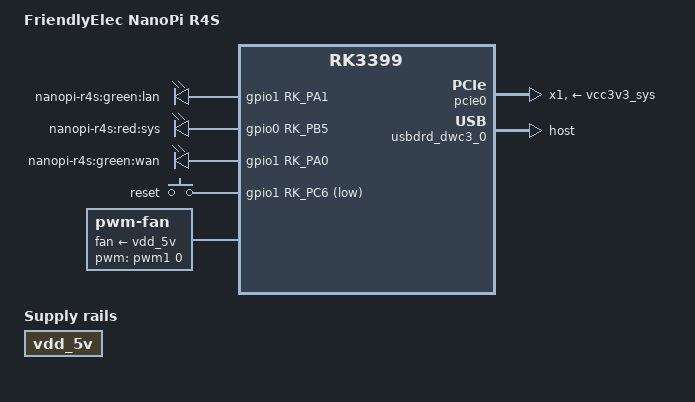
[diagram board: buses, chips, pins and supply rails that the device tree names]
// SPDX-License-Identifier: (GPL-2.0 OR MIT)
/*
 * Copyright (c) 2020 Jensen Huang <jensenhuang@friendlyarm.com>
 * Copyright (c) 2020 Marty Jones <mj8263788@gmail.com>
 * Copyright (c) 2020 Tianling Shen <cnsztl@gmail.com>
 */

/dts-v1/;
#include "rk3399-nanopi4.dtsi"

/ {
	model = "FriendlyElec NanoPi R4S";
	compatible = "friendlyarm,nanopi-r4s", "rockchip,rk3399";

	aliases {
		led-boot = &sys_led;
		led-failsafe = &sys_led;
		led-running = &sys_led;
		led-upgrade = &sys_led;
	};

	/delete-node/ gpio-leds;
	gpio-leds {
		compatible = "gpio-leds";
		pinctrl-0 = <&lan_led_pin>, <&sys_led_pin>, <&wan_led_pin>;
		pinctrl-names = "default";

		lan_led: led-0 {
			gpios = <&gpio1 RK_PA1 GPIO_ACTIVE_HIGH>;
			label = "nanopi-r4s:green:lan";
		};

		sys_led: led-1 {
			gpios = <&gpio0 RK_PB5 GPIO_ACTIVE_HIGH>;
			label = "nanopi-r4s:red:sys";
		};

		wan_led: led-2 {
			gpios = <&gpio1 RK_PA0 GPIO_ACTIVE_HIGH>;
			label = "nanopi-r4s:green:wan";
		};
	};

	/delete-node/ gpio-keys;
	gpio-keys {
		compatible = "gpio-keys";
		pinctrl-names = "default";
		pinctrl-0 = <&reset_button_pin>;

		reset {
			debounce-interval = <50>;
			gpios = <&gpio1 RK_PC6 GPIO_ACTIVE_LOW>;
			label = "reset";
			linux,code = <KEY_RESTART>;
		};
	};

	vdd_5v: vdd-5v {
		compatible = "regulator-fixed";
		regulator-name = "vdd_5v";
		regulator-always-on;
		regulator-boot-on;
	};

	fan: pwm-fan {
		compatible = "pwm-fan";
		/*
		 * With 20KHz PWM and an EVERCOOL EC4007H12SA fan, these levels
		 * work out to 0, ~1200, ~3000, and 5000RPM respectively.
		 */
		cooling-levels = <0 12 18 255>;
		#cooling-cells = <2>;
		fan-supply = <&vdd_5v>;
		pwms = <&pwm1 0 50000 0>;
	};
};

&cpu_thermal {
	trips {
		cpu_warm: cpu_warm {
			temperature = <55000>;
			hysteresis = <2000>;
			type = "active";
		};

		cpu_hot: cpu_hot {
			temperature = <65000>;
			hysteresis = <2000>;
			type = "active";
		};
	};

	cooling-maps {
		map2 {
			trip = <&cpu_warm>;
			cooling-device = <&fan THERMAL_NO_LIMIT 1>;
		};

		map3 {
			trip = <&cpu_hot>;
			cooling-device = <&fan 2 THERMAL_NO_LIMIT>;
		};
	};
};

&emmc_phy {
	status = "disabled";
};

&fusb0 {
	status = "disabled";
};

&pcie0 {
	max-link-speed = <1>;
	num-lanes = <1>;
	vpcie3v3-supply = <&vcc3v3_sys>;

	pcie@0 {
		reg = <0x00000000 0 0 0 0>;
		#address-cells = <3>;
		#size-cells = <2>;
	};
};

&pinctrl {
	/delete-node/ gpio-leds;
	gpio-leds {
		lan_led_pin: lan-led-pin {
			rockchip,pins = <1 RK_PA1 RK_FUNC_GPIO &pcfg_pull_none>;
		};

		sys_led_pin: sys-led-pin {
			rockchip,pins = <0 RK_PB5 RK_FUNC_GPIO &pcfg_pull_none>;
		};

		wan_led_pin: wan-led-pin {
			rockchip,pins = <1 RK_PA0 RK_FUNC_GPIO &pcfg_pull_none>;
		};
	};

	/delete-node/ rockchip-key;
	rockchip-key {
		reset_button_pin: reset-button-pin {
			rockchip,pins = <1 RK_PC6 RK_FUNC_GPIO &pcfg_pull_up>;
		};
	};
};

&sdhci {
	status = "disabled";
};

&sdio0 {
	status = "disabled";
};

&sdmmc {
	sd-uhs-sdr12;
	sd-uhs-sdr25;
	sd-uhs-sdr50;
};

&u2phy0_host {
	phy-supply = <&vdd_5v>;
};

&u2phy1_host {
	status = "disabled";
};

&usbdrd_dwc3_0 {
	dr_mode = "host";
};

&vcc3v3_sys {
	vin-supply = <&vcc5v0_sys>;
};
